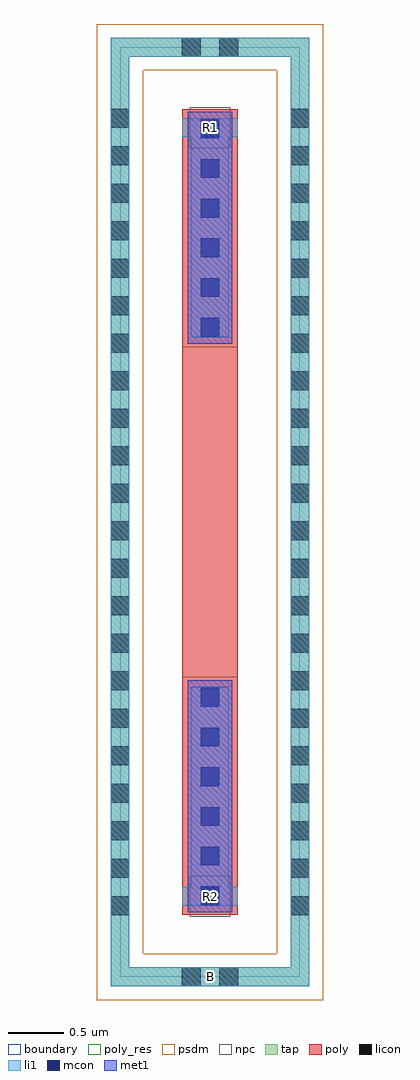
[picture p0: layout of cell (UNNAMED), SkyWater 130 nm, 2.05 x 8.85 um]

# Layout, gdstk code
import gdstk
lib = gdstk.Library(unit=1e-6, precision=1e-09)
def R(c, l, rs):  # rectangles x0, y0, x1, y1
    for r in rs: c.add(gdstk.rectangle(r[:2], r[2:], *l))
def A(c, l, x, y, w, h, nx, ny, dx, dy):  # array of equal rectangles
    R(c, l, [(x+i*dx, y+j*dy, x+i*dx+w, y+j*dy+h) for i in range(nx) for j in range(ny)])
tap = (65, 44)
poly_res = (66, 13)
poly = (66, 20)
licon = (66, 44)
li1 = (67, 20)
mcon = (67, 44)
met1 = (68, 20)
psdm = (94, 20)
npc = (95, 20)
boundary = (235, 4)

c__unnamed_ = lib.new_cell('(UNNAMED)')
R(c__unnamed_, tap, [(-0.9,-4.3,0.9,-4.13), (-0.9,-4.13,-0.73,4.13), (0.73,-4.13,0.9,4.13), (-0.9,4.13,0.9,4.3)])
R(c__unnamed_, poly_res, [(-0.25,-1.5,0.25,1.5)])
R(c__unnamed_, poly, [(-0.25,-3.65,0.25,3.65)])
A(c__unnamed_, licon, -0.9, -3.655, 0.17, 0.17, 1, 22, 0, 0.34)
A(c__unnamed_, licon, 0.73, -3.655, 0.17, 0.17, 1, 22, 0, 0.34)
R(c__unnamed_, licon, [(-0.255,-4.3,-0.085,-4.13), (0.085,-4.3,0.255,-4.13), (-0.085,-3.57,0.085,-3.4), (-0.085,3.4,0.085,3.57), (-0.255,4.13,-0.085,4.3), (0.085,4.13,0.255,4.3)])
R(c__unnamed_, li1, [(-0.9,-4.3,0.9,-4.13), (-0.9,-4.13,-0.73,4.13), (0.73,-4.13,0.9,4.13), (-0.25,-3.57,0.25,-3.4), (-0.17,-3.4,0.17,-1.585), (-0.17,1.585,0.17,3.4), (-0.25,3.4,0.25,3.57), (-0.9,4.13,0.9,4.3)])
A(c__unnamed_, mcon, -0.085, -3.565, 0.17, 0.17, 1, 6, 0, 0.36)
A(c__unnamed_, mcon, -0.085, 1.59, 0.17, 0.17, 1, 6, 0, 0.36)
R(c__unnamed_, met1, [(-0.2,-3.63,0.2,-1.525), (-0.2,1.525,0.2,3.63)])
R(c__unnamed_, psdm, [(-1.025,-4.425,1.025,-4.005), (-1.025,-4.005,-0.605,4.005), (0.605,-4.005,1.025,4.005), (-1.025,4.005,1.025,4.425)])
R(c__unnamed_, npc, [(-0.185,-3.67,0.185,-3.3), (-0.185,3.3,0.185,3.67)])
R(c__unnamed_, boundary, [(-0.815,-4.215,0.815,4.215)])
c__unnamed_.add(gdstk.Label('B', (0,-4.215), layer=67, texttype=5))
c__unnamed_.add(gdstk.Label('R1', (0,3.485), layer=67, texttype=5))
c__unnamed_.add(gdstk.Label('R2', (0,-3.485), layer=67, texttype=5))

lib.write_gds('_UNNAMED_.gds')
